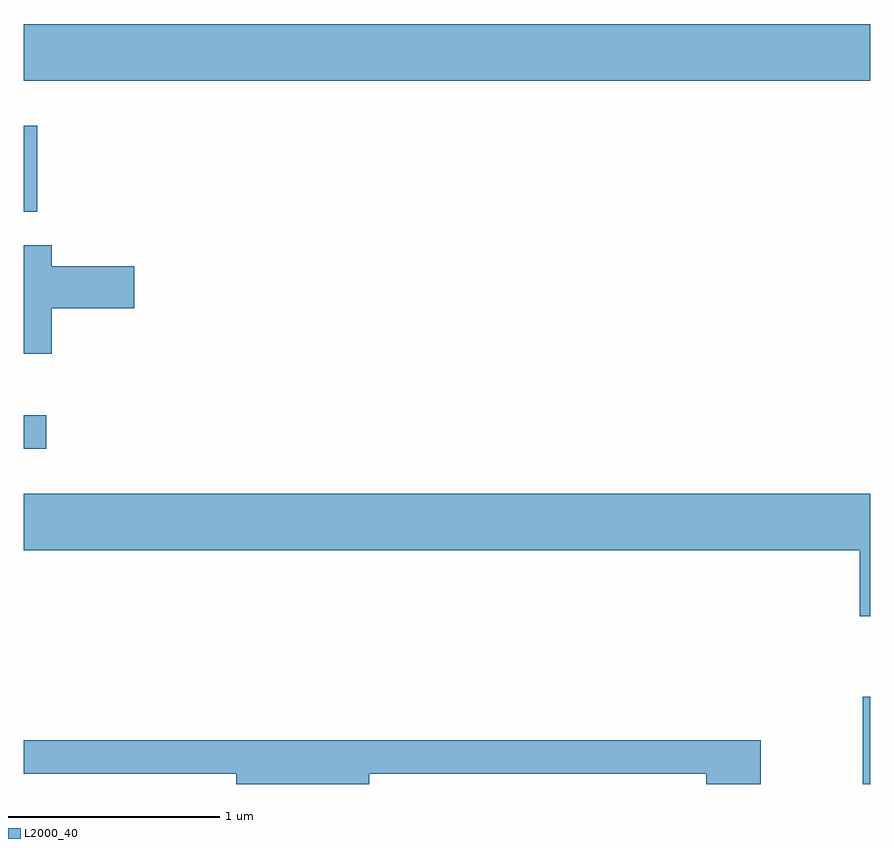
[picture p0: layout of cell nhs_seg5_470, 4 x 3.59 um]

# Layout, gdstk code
import gdstk
lib = gdstk.Library(unit=1e-6, precision=1e-09)
def R(c, l, rs):  # rectangles x0, y0, x1, y1
    for r in rs: c.add(gdstk.rectangle(r[:2], r[2:], *l))
def P(c, l, *ps):  # polygons
    for p in ps: c.add(gdstk.Polygon(p, *l))
L2000_40 = (2000, 40)

nhs_seg5_470 = lib.new_cell('nhs_seg5_470')
R(nhs_seg5_470, L2000_40, [(201.576,1520.072,201.611,1520.484), (197.611,1521.656,197.718,1521.814), (197.611,1522.776,197.674,1523.183), (197.611,1523.396,201.611,1523.664)])
P(nhs_seg5_470, L2000_40, [(197.744,1522.321),(198.134,1522.321),(198.134,1522.519),(197.744,1522.519),(197.744,1522.619),(197.611,1522.619),(197.611,1522.106),(197.744,1522.106)],
  [(201.611,1521.444),(197.611,1521.444),(197.611,1521.176),(201.561,1521.176),(201.561,1520.866),(201.611,1520.866)],
  [(199.244,1520.121),(200.836,1520.121),(200.836,1520.072),(201.094,1520.072),(201.094,1520.279),(197.611,1520.279),(197.611,1520.121),(198.616,1520.121),(198.616,1520.072),(199.244,1520.072)])

lib.write_gds('nhs_seg5_470.gds')
